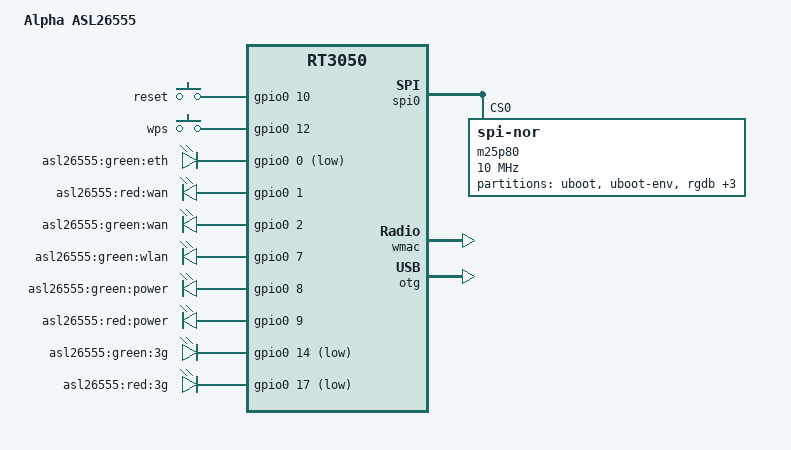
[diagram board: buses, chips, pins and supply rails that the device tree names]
/dts-v1/;

#include "rt3050.dtsi"

/ {
	compatible = "ASL26555", "ralink,rt3050-soc";
	model = "Alpha ASL26555";

	gpio-keys-polled {
		compatible = "gpio-keys-polled";
		#address-cells = <1>;
		#size-cells = <0>;
		poll-interval = <20>;

		reset {
			label = "reset";
			gpios = <&gpio0 10 0>;
			linux,code = <0x198>;
		};

		wps {
			label = "wps";
			gpios = <&gpio0 12 0>;
			linux,code = <0x211>;
		};
	};

	gpio-leds {
		compatible = "gpio-leds";

		eth {
			label = "asl26555:green:eth";
			gpios = <&gpio0 0 1>;
		};

		wan-red {
			label = "asl26555:red:wan";
			gpios = <&gpio0 1 0>;
		};

		wan-green {
			label = "asl26555:green:wan";
			gpios = <&gpio0 2 0>;
		};

		wlan {
			label = "asl26555:green:wlan";
			gpios = <&gpio0 7 0>;
		};

		power-green {
			label = "asl26555:green:power";
			gpios = <&gpio0 8 0>;
		};

		power-red {
			label = "asl26555:red:power";
			gpios = <&gpio0 9 0>;
		};

		3g-green {
			label = "asl26555:green:3g";
			gpios = <&gpio0 14 1>;
		};

		3g-red {
			label = "asl26555:red:3g";
			gpios = <&gpio0 17 1>;
		};
	};
};

&gpio0 {
	status = "okay";
};

&spi0 {
	status = "okay";

	m25p80@0 {
		#address-cells = <1>;
		#size-cells = <1>;
		compatible = "jedec,spi-nor";
		reg = <0>;
		linux,modalias = "m25p80", "s25sl064p";
		spi-max-frequency = <10000000>;

		partition@0 {
			label = "uboot";
			reg = <0x0 0x30000>;
			read-only;
		};

		ubootenv: partition@30000 {
			label = "uboot-env";
			reg = <0x30000 0x10000>;
			read-only;
		};

		partition@40000 {
			label = "rgdb";
			reg = <0x40000 0x10000>;
			read-only;
		};

		partition@50000 {
			label = "firmware";
			reg = <0x50000 0x790000>;
		};

		partition@7e0000 {
			label = "cert";
			reg = <0x7e0000 0x10000>;
			read-only;
		};

		partition@7f0000 {
			label = "langpack";
			reg = <0x7f0000 0x10000>;
			read-only;
		};
	};
};

&pinctrl {
	state_default: pinctrl0 {
		gpio {
			ralink,group = "i2c", "jtag", "rgmii", "mdio", "uartf";
			ralink,function = "gpio";
		};
	};
};

&ethernet {
	mtd-mac-address = <&ubootenv 0x4004>;
};

&esw {
	mediatek,portmap = <0x1e>;
};

&wmac {
	ralink,mtd-eeprom = <&ubootenv 0x4000>;
};

&otg {
	status = "okay";
};
